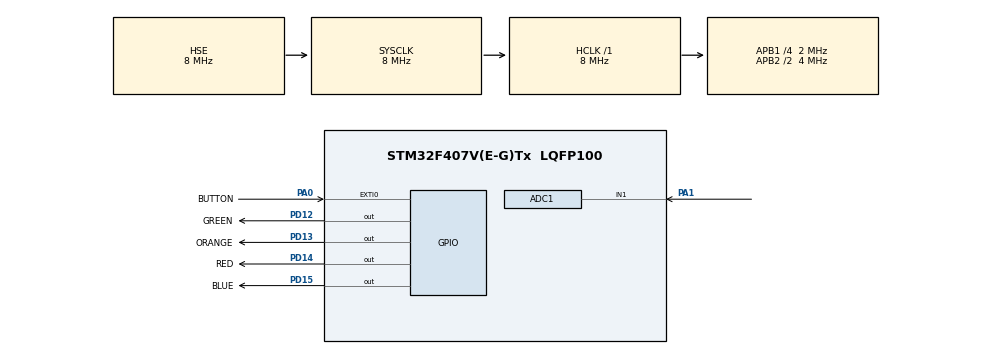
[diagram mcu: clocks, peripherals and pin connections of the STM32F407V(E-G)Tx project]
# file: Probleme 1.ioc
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ADC1.Channel-0\#ChannelRegularConversion=ADC_CHANNEL_1
ADC1.ClockPrescaler=ADC_CLOCK_SYNC_PCLK_DIV2
ADC1.DataAlign=ADC_DATAALIGN_LEFT
ADC1.NbrOfConversionFlag=1
ADC1.Rank-0\#ChannelRegularConversion=1
ADC1.SamplingTime-0\#ChannelRegularConversion=ADC_SAMPLETIME_3CYCLES
ADC1.master=1
Mcu.Family=STM32F4
Mcu.Name=STM32F407V(E-G)Tx
Mcu.Package=LQFP100
NVIC.ADC_IRQn=true\:0\:0\:false\:false\:true\:true\:true\:true
NVIC.EXTI0_IRQn=true\:0\:0\:false\:false\:true\:true\:true\:true
NVIC.PriorityGroup=NVIC_PRIORITYGROUP_0
PA0-WKUP.GPIO_Label=BUTTON
PA0-WKUP.Signal=GPXTI0
PA1.Signal=ADCx_IN1
PD12.GPIO_Label=GREEN
PD12.Signal=GPIO_Output
PD13.GPIO_Label=ORANGE
PD13.Signal=GPIO_Output
PD14.GPIO_Label=RED
PD14.Signal=GPIO_Output
PD15.GPIO_Label=BLUE
PD15.Signal=GPIO_Output
PH0-OSC_IN.Mode=HSE-External-Oscillator
PH0-OSC_IN.Signal=RCC_OSC_IN
PH1-OSC_OUT.Mode=HSE-External-Oscillator
PH1-OSC_OUT.Signal=RCC_OSC_OUT
ProjectManager.HeapSize=0x200
ProjectManager.StackSize=0x400
ProjectManager.TargetToolchain=STM32CubeIDE
RCC.48MHZClocksFreq_Value=7142857.142857143
RCC.AHBFreq_Value=8000000
RCC.APB1CLKDivider=RCC_HCLK_DIV4
RCC.APB1Freq_Value=2000000
RCC.APB1TimFreq_Value=4000000
RCC.APB2CLKDivider=RCC_HCLK_DIV2
RCC.APB2Freq_Value=4000000
RCC.APB2TimFreq_Value=8000000
RCC.CortexFreq_Value=8000000
RCC.HCLKFreq_Value=8000000
RCC.HSE_VALUE=8000000
RCC.HSI_VALUE=16000000
RCC.LSE_VALUE=32768
RCC.PLLM=8
RCC.PLLN=50
RCC.PLLP=RCC_PLLP_DIV4
RCC.PLLQ=7
RCC.PLLSourceVirtual=RCC_PLLSOURCE_HSE
RCC.SYSCLKFreq_VALUE=8000000
RCC.SYSCLKSource=RCC_SYSCLKSOURCE_HSE
RCC.VCOOutputFreq_Value=50000000
SH.ADCx_IN1.0=ADC1_IN1,IN1
board=STM32F407G-DISC1

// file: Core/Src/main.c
/* USER CODE BEGIN Header */
/**
  ******************************************************************************
  * @file           : main.c
  * @brief          : Main program body
  ******************************************************************************
  * @attention
  *
  * Copyright (c) 2024 STMicroelectronics.
  * All rights reserved.
  *
  * This software is licensed under terms that can be found in the LICENSE file
  * in the root directory of this software component.
  * If no LICENSE file comes with this software, it is provided AS-IS.
  *
  ******************************************************************************
  */
/* USER CODE END Header */
#include "main.h"

/* USER CODE BEGIN PTD */
typedef enum {
	LEVEL_MIN = 0U,
	LEVEL_1 = 16000U,
	LEVEL_2 = 32000U,
	LEVEL_3 = 48000U,
	LEVEL_MAX = 65000U
}LEVELS;
/* USER CODE END PTD */

/* USER CODE BEGIN PM */
#define CONVERSION_TIME 			ADC_SAMPLETIME_3CYCLES  // Choose Conversion Time
#define ODR                         0x05
/* USER CODE END PM */

ADC_HandleTypeDef hadc1;

/* USER CODE BEGIN PV */
uint8_t ButtonInterruptFlag = 0;
float AdcValue = 0;
uint8_t AdcConvertCpltFlag = 0;
/* USER CODE END PV */

void SystemClock_Config(void);
static void MX_GPIO_Init(void);
static void MX_ADC1_Init(void);

/* USER CODE BEGIN PFP */
static void GPIO_WriteBit(unsigned int * gpio_x, unsigned  short int GPIO_Pin, char BitVal);

/* USER CODE END PFP */

int main(void)
{

  /* MCU Configuration--------------------------------------------------------*/

  /* Reset of all peripherals, Initializes the Flash interface and the Systick. */
  HAL_Init();

  /* Configure the system clock */
  SystemClock_Config();

  /* Initialize all configured peripherals */
  MX_GPIO_Init();
  MX_ADC1_Init();

  /* Infinite loop */
  while (1)
  {

    /* USER CODE BEGIN 3 */
	  if( SET == ButtonInterruptFlag )
	  	  {
	  		  if ( HAL_ADC_Start_IT( &hadc1 ) != HAL_OK )
	  		  {
	  			  Error_Handler();
	  		  }
	  		while(SET != AdcConvertCpltFlag);

	  		if( AdcValue >= LEVEL_MIN &&  AdcValue < LEVEL_1)
	  				    {
	  			              GPIO_WriteBit((unsigned int *)ORANGE_GPIO_Port, ORANGE_Pin, 0x01)  ;
	  			              GPIO_WriteBit((unsigned int *)RED_GPIO_Port, RED_Pin, 0x00)  ;
	  			              GPIO_WriteBit((unsigned int *)BLUE_GPIO_Port, BLUE_Pin, 0x00)  ;
	  			              GPIO_WriteBit((unsigned int *)GREEN_GPIO_Port, GREEN_Pin, 0x00)  ;

	  				    }
	  				    else if( AdcValue >= LEVEL_1 &&  AdcValue < LEVEL_2)
	  				    {
	  				    	GPIO_WriteBit((unsigned int *)ORANGE_GPIO_Port, ORANGE_Pin, 0x01)  ;
	  				 		GPIO_WriteBit((unsigned int *)RED_GPIO_Port, RED_Pin, 0x01)  ;
	  				 		GPIO_WriteBit((unsigned int *)GREEN_GPIO_Port, GREEN_Pin, 0x00)  ;
	  				 		GPIO_WriteBit((unsigned int *)BLUE_GPIO_Port, BLUE_Pin, 0x00)  ;
	  				    }
	  				    else if( AdcValue >= LEVEL_2 &&  AdcValue < LEVEL_3)
	  				    {
	  				    	GPIO_WriteBit((unsigned int *)ORANGE_GPIO_Port, ORANGE_Pin, 0x01)  ;
	  				 		GPIO_WriteBit((unsigned int *)RED_GPIO_Port, RED_Pin, 0x01)  ;
	  				 		GPIO_WriteBit((unsigned int *)GREEN_GPIO_Port, GREEN_Pin, 0x01)  ;
	  				 		GPIO_WriteBit((unsigned int *)BLUE_GPIO_Port, BLUE_Pin, 0x00)  ;	  				    }
	  				    else if( AdcValue >= LEVEL_MAX )
	  				    {
	  				    	GPIO_WriteBit((unsigned int *)ORANGE_GPIO_Port, ORANGE_Pin, 0x01)  ;
	  				 		GPIO_WriteBit((unsigned int *)RED_GPIO_Port, RED_Pin, 0x01)  ;
	  				 		GPIO_WriteBit((unsigned int *)GREEN_GPIO_Port, GREEN_Pin, 0x01)  ;
	  				 		GPIO_WriteBit((unsigned int *)BLUE_GPIO_Port, BLUE_Pin, 0x01)  ;
	  				    }
	  		AdcConvertCpltFlag = 0 ;
	  		ButtonInterruptFlag = 0;
	  	  }
  }
  /* USER CODE END 3 */
}

void SystemClock_Config(void)
{
  RCC_OscInitTypeDef RCC_OscInitStruct = {0};
  RCC_ClkInitTypeDef RCC_ClkInitStruct = {0};

  /** Configure the main internal regulator output voltage
  */
  __HAL_RCC_PWR_CLK_ENABLE();
  __HAL_PWR_VOLTAGESCALING_CONFIG(PWR_REGULATOR_VOLTAGE_SCALE1);

  /** Initializes the RCC Oscillators according to the specified parameters
  * in the RCC_OscInitTypeDef structure.
  */
  RCC_OscInitStruct.OscillatorType = RCC_OSCILLATORTYPE_HSE;
  RCC_OscInitStruct.HSEState = RCC_HSE_ON;
  RCC_OscInitStruct.PLL.PLLState = RCC_PLL_NONE;
  if (HAL_RCC_OscConfig(&RCC_OscInitStruct) != HAL_OK)
  {
    Error_Handler();
  }

  /** Initializes the CPU, AHB and APB buses clocks
  */
  RCC_ClkInitStruct.ClockType = RCC_CLOCKTYPE_HCLK|RCC_CLOCKTYPE_SYSCLK
                              |RCC_CLOCKTYPE_PCLK1|RCC_CLOCKTYPE_PCLK2;
  RCC_ClkInitStruct.SYSCLKSource = RCC_SYSCLKSOURCE_HSE;
  RCC_ClkInitStruct.AHBCLKDivider = RCC_SYSCLK_DIV1;
  RCC_ClkInitStruct.APB1CLKDivider = RCC_HCLK_DIV4;
  RCC_ClkInitStruct.APB2CLKDivider = RCC_HCLK_DIV2;

  if (HAL_RCC_ClockConfig(&RCC_ClkInitStruct, FLASH_LATENCY_0) != HAL_OK)
  {
    Error_Handler();
  }
}

static void MX_ADC1_Init(void)
{

  ADC_ChannelConfTypeDef sConfig = {0};

  /** Configure the global features of the ADC (Clock, Resolution, Data Alignment and number of conversion)
  */
  hadc1.Instance = ADC1;
  hadc1.Init.ClockPrescaler = ADC_CLOCK_SYNC_PCLK_DIV2;
  hadc1.Init.Resolution = ADC_RESOLUTION_12B;
  hadc1.Init.ScanConvMode = DISABLE;
  hadc1.Init.ContinuousConvMode = DISABLE;
  hadc1.Init.DiscontinuousConvMode = DISABLE;
  hadc1.Init.ExternalTrigConvEdge = ADC_EXTERNALTRIGCONVEDGE_NONE;
  hadc1.Init.ExternalTrigConv = ADC_SOFTWARE_START;
  hadc1.Init.DataAlign = ADC_DATAALIGN_LEFT;
  hadc1.Init.NbrOfConversion = 1;
  hadc1.Init.DMAContinuousRequests = DISABLE;
  hadc1.Init.EOCSelection = ADC_EOC_SINGLE_CONV;
  if (HAL_ADC_Init(&hadc1) != HAL_OK)
  {
    Error_Handler();
  }

  /** Configure for the selected ADC regular channel its corresponding rank in the sequencer and its sample time.
  */
  sConfig.Channel = ADC_CHANNEL_1;
  sConfig.Rank = 1;
  sConfig.SamplingTime = CONVERSION_TIME;
  if (HAL_ADC_ConfigChannel(&hadc1, &sConfig) != HAL_OK)
  {
    Error_Handler();
  }

}

static void MX_GPIO_Init(void)
{
  GPIO_InitTypeDef GPIO_InitStruct = {0};

  /* GPIO Ports Clock Enable */
  __HAL_RCC_GPIOH_CLK_ENABLE();
  __HAL_RCC_GPIOA_CLK_ENABLE();
  __HAL_RCC_GPIOD_CLK_ENABLE();

  /*Configure GPIO pin Output Level */
  HAL_GPIO_WritePin(GPIOD, GREEN_Pin|ORANGE_Pin|RED_Pin|BLUE_Pin, GPIO_PIN_RESET);

  /*Configure GPIO pin : BUTTON_Pin */
  GPIO_InitStruct.Pin = BUTTON_Pin;
  GPIO_InitStruct.Mode = GPIO_MODE_IT_RISING;
  GPIO_InitStruct.Pull = GPIO_NOPULL;
  HAL_GPIO_Init(BUTTON_GPIO_Port, &GPIO_InitStruct);

  /*Configure GPIO pins : GREEN_Pin ORANGE_Pin RED_Pin BLUE_Pin */
  GPIO_InitStruct.Pin = GREEN_Pin|ORANGE_Pin|RED_Pin|BLUE_Pin;
  GPIO_InitStruct.Mode = GPIO_MODE_OUTPUT_PP;
  GPIO_InitStruct.Pull = GPIO_NOPULL;
  GPIO_InitStruct.Speed = GPIO_SPEED_FREQ_LOW;
  HAL_GPIO_Init(GPIOD, &GPIO_InitStruct);

  /* EXTI interrupt init*/
  HAL_NVIC_SetPriority(EXTI0_IRQn, 0, 0);
  HAL_NVIC_EnableIRQ(EXTI0_IRQn);

}

/* USER CODE BEGIN 4 */
void HAL_GPIO_EXTI_Callback(uint16_t GPIO_Pin)
{

	ButtonInterruptFlag = 1 ;

}
void HAL_ADC_ConvCpltCallback(ADC_HandleTypeDef* hadc)
{
	if(hadc->Instance == ADC1)
	{

	if( HAL_ADC_Stop_IT( &hadc1 ) != HAL_OK )
	  {
			  Error_Handler();
	  }
	 AdcValue = HAL_ADC_GetValue( &hadc1 );
     AdcConvertCpltFlag = 1 ;
	}
}

static void GPIO_WriteBit(unsigned int * gpio_x, unsigned  short int GPIO_Pin, char BitVal)
{
  if (BitVal != 0x0)
    *(gpio_x + ODR) |= GPIO_Pin;
  // sinon il faut mettre la 0
  //...
  else
    *(gpio_x + ODR) &= ~(GPIO_Pin);
}
/* USER CODE END 4 */

void Error_Handler(void)
{
  __disable_irq();
  while (1)
  {
  }
}
